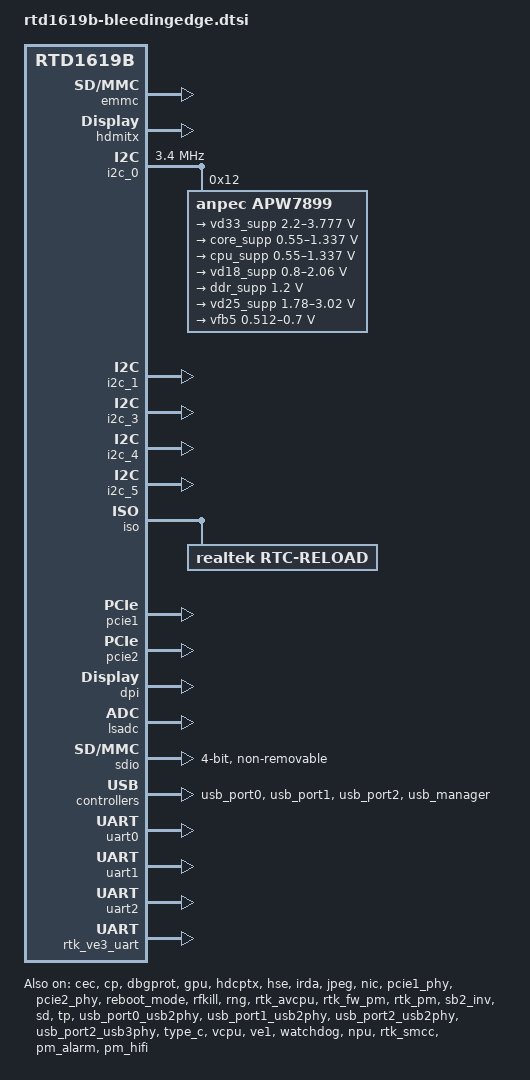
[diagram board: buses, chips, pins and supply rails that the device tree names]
// SPDX-License-Identifier: (GPL-2.0-or-later OR BSD-2-Clause)
/*
 * Copyright (c) 2020 Realtek Semiconductor Corp.
 */

/dts-v1/;

#include <dt-bindings/regulator/anpec,apw888x.h>
#include <dt-bindings/soc/realtek,pm.h>
#include <dt-bindings/thermal/thermal.h>
#include "rtd16xxb.dtsi"

/ {
	chosen {
		stdout-path = "serial0:460800n8";
		bootargs = "earlycon=uart8250,mmio32,0x98007800 console=ttyS0,460800 init=/init loop.max_part=7 androidboot.storage=emmc androidboot.hardware=stark loglevel=4 NO_RESERVE";
	};

	aliases {
		serial0 = &uart0;
		serial1 = &uart1;
		serial2 = &uart2;
		rtc0 = &sw_rtc;
	};

	sw_rtc: sw-rtc {
		compatible = "realtek,emulated-rtc";
	};
};

&audio_in_i2s {
	pinctrl-names = "default";
	pinctrl-0 = <&ai_loc0_6pins>;
	status = "disabled";
};

&audio_out {
	pinctrl-names = "default";
	pinctrl-0 = <&spdif_pins>;
	audio-gpios = <&gpio 47 GPIO_ACTIVE_HIGH>;
	status = "okay";
};

&cec {
	status = "okay";
};

&cp {
	status = "okay";
};

&cpu0 {
	cpu-supply = <&cpu_supp>;
	operating-points-v2 = <&cpu_opps>;
	#cooling-cells = <2>;
};

&cpu1 {
	cpu-supply = <&cpu_supp>;
	operating-points-v2 = <&cpu_opps>;
	#cooling-cells = <2>;
};

&cpu2 {
	cpu-supply = <&cpu_supp>;
	operating-points-v2 = <&cpu_opps>;
	#cooling-cells = <2>;
};

&cpu3 {
	cpu-supply = <&cpu_supp>;
	operating-points-v2 = <&cpu_opps>;
	#cooling-cells = <2>;
};

&cpu_dvfs {
	fss,opp-updated = <0>;
	fss,volt-correct = <25000>;
	fss,volt-step = <25000>;
	fss,volt-min = <775000>;
	fss,volt-max = <1087500>;

	bsv,opp-updated = <0>;
	bsv,volt-correct = <150000 175000>;
	bsv,volt-step = <25000>;
	bsv,volt-min = <800000>;
	bsv,volt-max = <1087500>;

	cpu_opps: opp-table-cpu {
		compatible = "operating-points-v2";
		opp-shared;
		opp1000: opp-1000000000 {
			opp-hz = /bits/ 64 <1000000000>;
			opp-microvolt = <800000>;
			opp-microvolt-bsv = <0>;
			opp-microvolt-fss = <0>;
			clock-latency-ns = <150000>;
			status = "disabled";
		};

		opp1100: opp-1100000000 {
			opp-hz = /bits/ 64 <1100000000>;
			opp-microvolt = <825000>;
			opp-microvolt-fss = <0>;
			opp-microvolt-bsv = <0>;
			clock-latency-ns = <150000>;
			status = "okay";
		};

		opp1200: opp-1200000000 {
			opp-hz = /bits/ 64 <1200000000>;
			opp-microvolt = <850000>;
			opp-microvolt-fss = <0>;
			opp-microvolt-bsv = <0>;
			clock-latency-ns = <150000>;
			status = "okay";
		};

		opp1300: opp-1300000000 {
			opp-hz = /bits/ 64 <1300000000>;
			opp-microvolt = <875000>;
			opp-microvolt-fss = <0>;
			opp-microvolt-bsv = <0>;
			clock-latency-ns = <150000>;
			status = "okay";
		};

		opp1400: opp-1400000000 {
			opp-hz = /bits/ 64 <1400000000>;
			opp-microvolt = <900000>;
			opp-microvolt-fss = <0>;
			opp-microvolt-bsv = <0>;
			clock-latency-ns = <150000>;
			status = "okay";
		};

		opp1500: opp-1500000000 {
			opp-hz = /bits/ 64 <1500000000>;
			opp-microvolt = <937500>;
			opp-microvolt-fss = <0>;
			opp-microvolt-bsv = <0>;
			clock-latency-ns = <150000>;
			status = "okay";
		};

		opp1600: opp-1600000000 {
			opp-hz = /bits/ 64 <1600000000>;
			opp-microvolt = <987500>;
			opp-microvolt-fss = <0>;
			opp-microvolt-bsv = <0>;
			clock-latency-ns = <150000>;
			status = "okay";
		};

		opp1700: opp-1700000000 {
			opp-hz = /bits/ 64 <1700000000>;
			opp-microvolt = <1037500>;
			opp-microvolt-fss = <0>;
			opp-microvolt-bsv = <0>;
			clock-latency-ns = <150000>;
			opp-suspend;
			status = "okay";
		};
	};
};

&cpu_thermal {
	trips {
		cpu_alert0: cpu-alert0 {
			temperature = <90000>;
			hysteresis = <0>;
			type = "passive";
		};

		cpu_alert1: cpu-alert1 {
			temperature = <105000>;
			hysteresis = <0>;
			type = "passive";
		};
	};

	cooling-maps {
		cpu-map0 {
			trip = <&cpu_alert0>;
			cooling-device = <&cpu0 2 3>;
			contribution = <70>;
		};

		cpu-map1 {
			trip = <&cpu_alert1>;
			cooling-device = <&cpu0 4 THERMAL_NO_LIMIT>;
			contribution = <70>;
		};
	};
};

&cpu_tm {
	status = "okay";
};

&dbgprot {
	status = "okay";
};

&emmc {
	status = "okay";
};

&gpio {
	status = "okay";
};

&gpu {
	operating-points-v2 = <&gpu_opps>;
	status = "okay";

	gpu_opps: opp-table-gpu {
		compatible = "operating-points-v2",
			     "operating-points-v2-mali";

		opp-450000000 {
			opp-hz = /bits/ 64 <450000000>;
			opp-hz-real = /bits/ 64 <450000000>;
			opp-microvolt = <800000>;
			opp-suspend;
		};

		opp-550000000 {
			opp-hz = /bits/ 64 <550000000>;
			opp-hz-real = /bits/ 64 <550000000>;
			opp-microvolt = <800000>;
		};

		opp-650000000 {
			opp-hz = /bits/ 64 <650000000>;
			opp-hz-real = /bits/ 64 <650000000>;
			opp-microvolt = <800000>;
		};

		opp-702000000 {
			opp-hz = /bits/ 64 <702000000>;
			opp-hz-real = /bits/ 64 <702000000>;
			opp-microvolt = <800000>;
		};
	};
};

&hdcptx {
	status = "okay";
};

&hdmitx {
	status = "okay";
};

&hse {
	status = "okay";
};

&i2c_0 {
	clock-frequency = <3400000>;
	pinctrl-0 = <&i2c_pins_0_HS>;
	status = "okay";

	apw7899: apw7899@12 {
		compatible = "anpec,apw7899";
		reg = <0x12>;

		regulators {
			compatible = "anpec,apw8886-regulator";

			vd33_supp: dc1 {
				regulator-name = "vd33";
				regulator-min-microvolt = <2200000>;
				regulator-max-microvolt = <3777500>;

				regulator-boot-on;
				regulator-always-on;
				regulator-initial-mode = <APW888X_DC_MODE_AUTO>;
				regulator-state-mem {
					regulator-on-in-suspend;
					regulator-suspend-microvolt = <3300000>;
				};
			};

			core_supp: dc2 {
				regulator-name = "core";
				regulator-min-microvolt = <550000>;
				regulator-max-microvolt = <1337500>;

				regulator-boot-on;
				regulator-always-on;
				regulator-initial-mode = <APW888X_DC_MODE_AUTO>;
				regulator-state-mem {
					regulator-on-in-suspend;
					regulator-suspend-microvolt = <800000>;
				};
			};

			cpu_supp: dc3 {
				regulator-name = "cpudvs";
				regulator-min-microvolt = <550000>;
				regulator-max-microvolt = <1337500>;

				regulator-boot-on;
				regulator-always-on;
				regulator-initial-mode = <APW888X_DC_MODE_AUTO>;
				regulator-ramp-delay = <625>;
				regulator-state-mem {
					regulator-off-in-suspend;
					regulator-changeable-in-suspend;
				};
				regulator-state-shutdown {
					regulator-off-in-suspend;
				};
			};

			vd18_supp: dc4 {
				regulator-name = "vd18";
				regulator-min-microvolt = <800000>;
				regulator-max-microvolt = <2060000>;

				regulator-boot-on;
				regulator-always-on;
				regulator-initial-mode = <APW888X_DC_MODE_AUTO>;
				regulator-state-mem {
					regulator-on-in-suspend;
				};
			};

			ddr_supp: dc5 {
				regulator-name = "ddr";
				regulator-min-microvolt = <1200000>;
				regulator-max-microvolt = <1200000>;
				regulator-boot-on;
				regulator-always-on;
				regulator-initial-mode = <APW888X_DC_MODE_AUTO>;
				regulator-state-mem {
					regulator-on-in-suspend;
				};

				regulator-state-shutdown {
					regulator-off-in-suspend;
				};
			};

			vd25_supp: ldo1 {
				regulator-name = "vd25";
				regulator-min-microvolt = <1780000>;
				regulator-max-microvolt = <3020000>;

				regulator-boot-on;
				regulator-always-on;
				regulator-initial-mode = <APW888X_LDO_MODE_NORMAL>;
				regulator-state-mem {
					regulator-on-in-suspend;
				};
			};

			vfb5 {
				regulator-name = "vfb5";
				regulator-min-microvolt = <512500>;
				regulator-max-microvolt = <700000>;

				regulator-boot-on;
				regulator-always-on;
				regulator-state-mem {
					regulator-on-in-suspend;
				};
			};
		};
	};
};

&i2c_1 {
	status = "okay";
};

&i2c_3 {
	status = "okay";
};

&i2c_4 {
	status = "okay";
};

&i2c_5 {
	status = "okay";
};

&irda {
	wakeup-key = <116>,<148>;
	status = "okay";
};

&iso {
	rtc-reload@64c {
		compatible = "realtek,rtc-reload";
		reg = <0x64c 0x4>;
		status = "okay";
	};
};

&jpeg {
	status = "okay";
};

&nic {
	status = "okay";
};

&pcie1 {
	status = "okay";
};

&pcie1_phy {
	status = "okay";
};

&pcie2 {
	status = "okay";
};

&pcie2_phy {
	status = "okay";
};

&pwm {
	status = "disabled";
};

&pwr_ve1 {
	assigned-clock-rates = <540000000>;
};

&dpi {
	status = "okay";

	zq-cal {
		status = "okay";
	};
};

&reboot_mode {
	status = "okay";
};

&rfkill {
	rfkill-gpios = <&gpio 6 GPIO_ACTIVE_HIGH>;
	status = "okay";
};

&lsadc {
	status = "okay";
};

&rng {
	status = "okay";
};

&rtk_avcpu {
	status = "okay";
};

&rtk_fw_pm {
	status = "okay";
};

&rtk_pm {
	wakeup-flags = <NORMAL_MODE>;
	wakeup-gpio-list = <2 GPIO_WAKEUP_ENABLE GPIO_WAKEUP_ACTIVE_LOW>,
			   <4 GPIO_WAKEUP_ENABLE GPIO_WAKEUP_ACTIVE_LOW>,
			   <26 GPIO_WAKEUP_ENABLE GPIO_WAKEUP_ACTIVE_LOW>;
	wakeup-timer = <0>;
	dco = <DCO_DISABLE>;
	status = "okay";
};

&sb2_inv {
	status = "okay";
};

&sd {
	status = "okay";
};

&sdio {
	bus-width = <4>;
	non-removable;
	cap-sd-highspeed;
	cap-mmc-highspeed;
	sd-uhs-sdr12;
	sd-uhs-sdr25;
	sd-uhs-sdr50;
	sd-uhs-sdr104;
	keep-power-in-suspend;
	enable-sdio-wakeup;
	no-sd;
	no-mmc;
	status = "okay";
};

&sound {
	status = "okay";
};

&tp {
	status = "okay";
};

&usb_port0_usb2phy {
	status = "okay";
};

&usb_port0 {
	status = "okay";
};

&usb_port1_usb2phy {
	status = "okay";
};

&usb_port1 {
	status = "okay";
};

&usb_port2_usb2phy {
	status = "okay";
};

&usb_port2_usb3phy {
	status = "okay";
};

&usb_port2 {
	status = "okay";
};

&type_c {
	status = "okay";

	dwc3_rtk = <&usb_port2>;
};

/* debug console (J1) */
&uart0 {
	status = "okay";
};

/* M.2 slot (CON2) */
&uart1 {
	status = "okay";
};

&uart2 {
	status = "okay";
};

&usb_manager {
	status = "okay";

	gpio0 {
		realtek,power-gpio = <&gpio 48 GPIO_ACTIVE_HIGH>;
		power_low_active;
	};

	gpio1 {
		realtek,power-gpio = <&gpio 49 GPIO_ACTIVE_HIGH>;
		power_low_active;
	};

	rtk_usb {
		type_c {
			realtek,plug_side_switch-gpio = <&gpio 53 GPIO_ACTIVE_HIGH>;
		};
	};
};

&vcpu {
	status = "okay";
};

&ve3vcpu {
	status = "disabled";
};

&ve1 {
	status = "okay";
};

&watchdog {
	status = "okay";
};

&npu {
	status = "okay";
};

&sata_phy {
	status = "disabled";
};

&sata_phy0 {
	tx-swing = <(-2)>, <(1)>, <(0)>; /* tx swing adjust sample : <gen1>, <gen2>, <gen3> */
	/delete-property/ tx-swing;
	tx-emphasis = <3>, <(-2)>, <(-3)>; /* tx emphasis adjust sample : <gen1>, <gen2>, <gen3> */
	/delete-property/ tx-emphasis;
	status = "disabled";
};

&sata_phy1 {
	status = "disabled";
};

&ahci_sata {
	status = "disabled";
};

&sata_port0 {
	status = "disabled";
};

&sata_port1 {
	status = "disabled";
};

&rtk_smcc {
	status = "okay";
};

&pm_alarm {
	status = "okay";
};

&rtk_ve3_uart {
	status = "okay";
};

&pm_hifi {
	hifi-supply = <&cpu_supp>;
	status = "okay";
};
